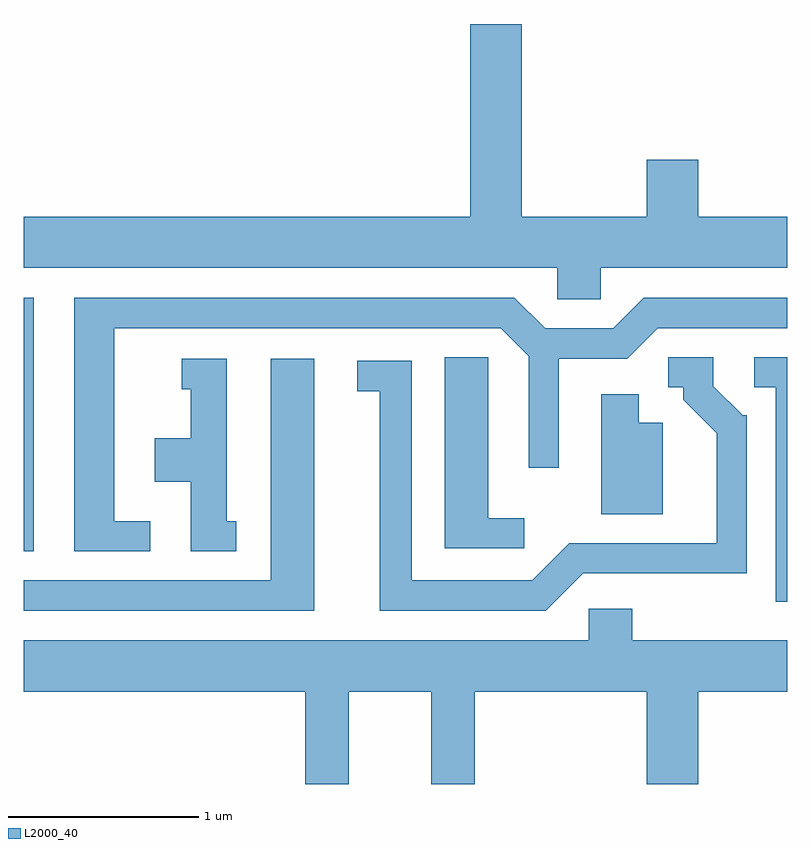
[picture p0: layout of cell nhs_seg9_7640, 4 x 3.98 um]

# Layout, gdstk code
import gdstk
lib = gdstk.Library(unit=1e-6, precision=1e-09)
def R(c, l, rs):  # rectangles x0, y0, x1, y1
    for r in rs: c.add(gdstk.rectangle(r[:2], r[2:], *l))
def P(c, l, *ps):  # polygons
    for p in ps: c.add(gdstk.Polygon(p, *l))
L2000_40 = (2000, 40)

nhs_seg9_7640 = lib.new_cell('nhs_seg9_7640')
R(nhs_seg9_7640, L2000_40, [(411.611,2003.651,411.664,2004.979)])
P(nhs_seg9_7640, L2000_40, [(414.634,2005.136),(415.611,2005.136),(415.611,2005.404),(415.144,2005.404),(415.144,2005.704),(414.876,2005.704),(414.876,2005.404),(414.219,2005.404),(414.219,2006.414),(413.951,2006.414),(413.951,2005.404),(411.611,2005.404),(411.611,2005.136),(414.406,2005.136),(414.406,2004.971),(414.634,2004.971)],
  [(412.273,2003.809),(412.084,2003.809),(412.084,2004.821),(414.109,2004.821),(414.256,2004.674),(414.256,2004.088),(414.414,2004.088),(414.414,2004.661),(414.772,2004.661),(414.932,2004.821),(415.611,2004.821),(415.611,2004.979),(414.859,2004.979),(414.699,2004.819),(414.342,2004.819),(414.182,2004.979),(411.876,2004.979),(411.876,2003.651),(412.273,2003.651)],
  [(414.233,2003.824),(414.044,2003.824),(414.044,2004.669),(413.816,2004.669),(413.816,2003.666),(414.233,2003.666)],
  [(415.611,2004.669),(415.438,2004.669),(415.438,2004.511),(415.551,2004.511),(415.551,2003.386),(415.611,2003.386)],
  [(414.542,2003.536),(415.399,2003.536),(415.399,2004.364),(415.377,2004.364),(415.224,2004.517),(415.224,2004.669),(414.988,2004.669),(414.988,2004.511),(415.066,2004.511),(415.066,2004.444),(415.241,2004.269),(415.241,2003.694),(414.469,2003.694),(414.274,2003.499),(413.644,2003.499),(413.644,2004.649),(413.358,2004.649),(413.358,2004.491),(413.476,2004.491),(413.476,2003.341),(414.347,2003.341)],
  [(412.723,2003.809),(412.674,2003.809),(412.674,2004.659),(412.438,2004.659),(412.438,2004.501),(412.486,2004.501),(412.486,2004.244),(412.296,2004.244),(412.296,2004.016),(412.486,2004.016),(412.486,2003.651),(412.723,2003.651)],
  [(413.134,2004.659),(412.906,2004.659),(412.906,2003.499),(411.611,2003.499),(411.611,2003.341),(413.134,2003.341)],
  [(414.959,2004.324),(414.834,2004.324),(414.834,2004.474),(414.636,2004.474),(414.636,2003.846),(414.959,2003.846)],
  [(413.314,2002.916),(413.746,2002.916),(413.746,2002.432),(413.974,2002.432),(413.974,2002.916),(414.876,2002.916),(414.876,2002.432),(415.144,2002.432),(415.144,2002.916),(415.611,2002.916),(415.611,2003.184),(414.799,2003.184),(414.799,2003.349),(414.571,2003.349),(414.571,2003.184),(411.611,2003.184),(411.611,2002.916),(413.086,2002.916),(413.086,2002.432),(413.314,2002.432)])

lib.write_gds('nhs_seg9_7640.gds')
